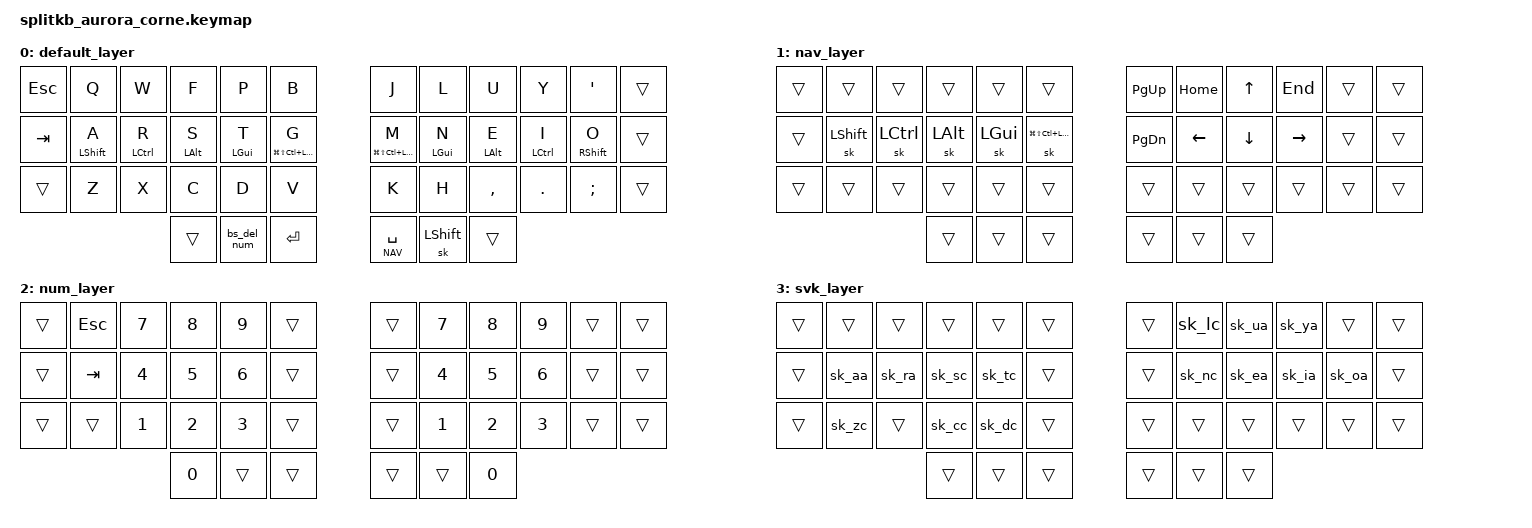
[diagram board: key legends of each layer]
/*
 * Copyright (c) 2020 The ZMK Contributors
 *
 * SPDX-License-Identifier: MIT
 */

#include <behaviors.dtsi>
#include <dt-bindings/zmk/bt.h>
#include <dt-bindings/zmk/keys.h>
#include <dt-bindings/zmk/outputs.h>

// required for unicode
#define HOST_OS 2

// Urob helpers
#include "zmk-helpers/helper.h"
#include "zmk-helpers/key-labels/42.h"
#include "zmk-helpers/unicode-chars/slovak.dtsi"

#define ___ &trans

#define DEF 0
#define NAV 1
#define NUM 2
#define SVK 3

#define HYPER LG(LS(LC(LALT)))

// Timeless home row mods
#define KEYS_L LT0 LT1 LT2 LT3 LT4 LT5 LM0 LM1 LM2 LM3 LM4 LM5 LB0 LB1 LB2 LB3 LB4 LB5  // left hand
#define KEYS_R RT0 RT1 RT2 RT3 RT4 LT5 RM0 RM1 RM2 RM3 RM4 RM5 RB0 RB1 RB2 RB3 RB4 RB5  // right hand
#define THUMBS LH1 LH0 LH2 RH0 RH1 RH2                                                  // thumbs

ZMK_HOLD_TAP(hml,
    flavor = "balanced";
    tapping-term-ms = <280>;
    require-prior-idle-ms = <150>;
    hold-trigger-key-positions = <KEYS_R THUMBS>;
    hold-trigger-on-release;
    bindings = <&kp>, <&kp>;
)

ZMK_HOLD_TAP(hmr,
    flavor = "balanced";
    tapping-term-ms = <280>;
    require-prior-idle-ms = <150>;
    hold-trigger-key-positions = <KEYS_L THUMBS>;
    hold-trigger-on-release;
    bindings = <&kp>, <&kp>;
)

// tap: backspace | shift + tap: delete | hold: num layer
ZMK_MOD_MORPH(bs_del_num,
    bindings = <&lt NUM BSPC>, <&kp DEL>;
    mods = <(MOD_LSFT|MOD_RSFT)>;
)

// combos
#define COMBO_TERM_FAST 30
#define COMBO_IDLE_FAST 150

ZMK_COMBO(copy,  &kp LG(C),  LB2 LB1,     DEF NAV NUM, COMBO_TERM_FAST, COMBO_IDLE_FAST)
ZMK_COMBO(paste, &kp LG(V),  LB1 LB0,     DEF NAV NUM, COMBO_TERM_FAST, COMBO_IDLE_FAST)

ZMK_CONDITIONAL_LAYER(svk_layer, NAV NUM, SVK)

/* Keymap */

ZMK_LAYER(default_layer,
     // ╭─────────────┬────────────┬─────────────┬─────────────┬─────────────┬─────────────╮   ╭─────────────┬─────────────┬─────────────┬─────────────┬─────────────┬────────────╮
          &kp ESC       &kp Q        &kp W         &kp F         &kp P         &kp B             &kp J         &kp L         &kp U         &kp Y         &kp SQT       ___
     // ├─────────────┼────────────┼─────────────┼─────────────┼─────────────┼─────────────┤   ├─────────────┼─────────────┼─────────────┬─────────────┼─────────────┼────────────┤
          &kp TAB       &hml LSHFT A &hml LCTRL R  &hml LALT S   &hml LGUI T   &hml HYPER G      &hmr HYPER M  &hmr LGUI N   &hmr LALT E   &hmr LCTRL I  &hmr RSHFT O   ___
     // ├─────────────┼────────────┼─────────────┼─────────────┼─────────────┼─────────────┤   ├─────────────┼─────────────┼─────────────┬─────────────┼─────────────┼────────────┤
          ___           &kp Z        &kp X         &kp C         &kp D         &kp V             &kp K         &kp H         &kp COMMA     &kp DOT       &kp SEMI      ___
     // ╰────────────────────────────────────────┼─────────────┼─────────────┼─────────────┤   ├─────────────┼─────────────┼─────────────┼────────────────────────────────────────╯
                                                    ___          &bs_del_num   &kp RET           &lt NAV SPACE &sk LSHFT     ___
     //                                          ╰─────────────┴─────────────┴─────────────╯   ╰─────────────┴─────────────┴─────────────╯
)

ZMK_LAYER(nav_layer,
     // ╭─────────────┬────────────┬─────────────┬─────────────┬─────────────┬─────────────╮   ╭─────────────┬─────────────┬─────────────┬─────────────┬─────────────┬─────────────╮
          ___           ___          ___           ___           ___           ___               &kp PG_UP     &kp HOME      &kp UP        &kp END       ___           ___
     // ├─────────────┼────────────┼─────────────┼─────────────┼─────────────┼─────────────┤   ├─────────────┼─────────────┼─────────────┼─────────────┼─────────────┼─────────────┤
          ___           &sk LSHFT    &sk LCTRL     &sk LALT      &sk LGUI      &sk HYPER         &kp PG_DN     &kp LEFT      &kp DOWN      &kp RIGHT     ___           ___
     // ├─────────────┼────────────┼─────────────┼─────────────┼─────────────┼─────────────┤   ├─────────────┼─────────────┼─────────────┼─────────────┼─────────────┼─────────────┤
          ___           ___          ___           ___           ___           ___               ___           ___           ___           ___           ___           ___
     // ╰──────────────────────────────────────────────────────┼─────────────┼─────────────┤   ├─────────────┼─────────────┼─────────────┼─────────────────────────────────────────╯
                                                   ___           ___           ___               ___           ___           ___
     //                                          ╰─────────────┴─────────────┴─────────────╯   ╰─────────────┴─────────────┴─────────────╯
)

ZMK_LAYER(num_layer,
     // ╭─────────────┬────────────┬─────────────┬─────────────┬─────────────┬─────────────╮   ╭─────────────┬─────────────┬─────────────┬─────────────┬─────────────┬─────────────╮
          ___           &kp ESC      &kp N7        &kp N8        &kp N9        ___               ___           &kp N7        &kp N8        &kp N9        ___           ___
     // ├─────────────┼────────────┼─────────────┼─────────────┼─────────────┼─────────────┤   ├─────────────┼─────────────┼─────────────┼─────────────┼─────────────┼─────────────┤
          ___           &kp TAB      &kp N4        &kp N5        &kp N6        ___               ___           &kp N4        &kp N5        &kp N6        ___           ___
     // ├─────────────┼────────────┼─────────────┼─────────────┼─────────────┼─────────────┤   ├─────────────┼─────────────┼─────────────┼─────────────┼─────────────┼─────────────┤
          ___           ___          &kp N1        &kp N2        &kp N3        ___               ___           &kp N1        &kp N2        &kp N3        ___           ___
     // ╰──────────────────────────────────────────────────────┼─────────────┼─────────────┤   ├─────────────┼─────────────┼─────────────┼─────────────────────────────────────────╯
                                                   &kp N0        ___           ___               ___           ___           &kp N0
     //                                          ╰─────────────┴─────────────┴─────────────╯   ╰─────────────┴─────────────┴─────────────╯
)

ZMK_LAYER(svk_layer,
     // ╭─────────────┬────────────┬─────────────┬─────────────┬─────────────┬─────────────╮   ╭─────────────┬─────────────┬─────────────┬─────────────┬─────────────┬─────────────╮
          ___           ___          ___           ___           ___           ___               ___           &sk_lc        &sk_ua        &sk_ya        ___           ___
     // ├─────────────┼────────────┼─────────────┼─────────────┼─────────────┼─────────────┤   ├─────────────┼─────────────┼─────────────┼─────────────┼─────────────┼─────────────┤
          ___           &sk_aa       &sk_ra        &sk_sc        &sk_tc        ___               ___           &sk_nc        &sk_ea        &sk_ia        &sk_oa        ___
     // ├─────────────┼────────────┼─────────────┼─────────────┼─────────────┼─────────────┤   ├─────────────┼─────────────┼─────────────┼─────────────┼─────────────┼─────────────┤
          ___           &sk_zc       ___           &sk_cc        &sk_dc        ___               ___           ___           ___           ___           ___           ___
     // ╰──────────────────────────────────────────────────────┼─────────────┼─────────────┤   ├─────────────┼─────────────┼─────────────┼─────────────────────────────────────────╯
                                                   ___           ___           ___               ___           ___           ___
     //                                          ╰─────────────┴─────────────┴─────────────╯   ╰─────────────┴─────────────┴─────────────╯
)
